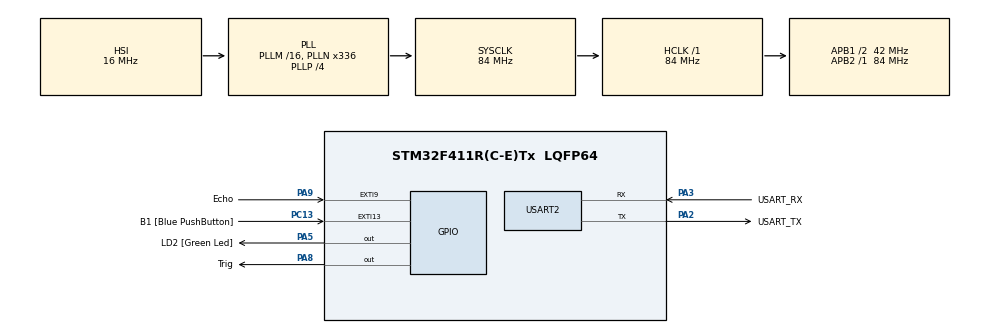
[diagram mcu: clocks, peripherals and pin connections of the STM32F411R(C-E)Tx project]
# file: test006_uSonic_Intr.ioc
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Mcu.Family=STM32F4
Mcu.Name=STM32F411R(C-E)Tx
Mcu.Package=LQFP64
NVIC.EXTI9_5_IRQn=true\:0\:0\:false\:false\:true\:true\:true\:true
NVIC.PriorityGroup=NVIC_PRIORITYGROUP_0
NVIC.TIM3_IRQn=true\:0\:0\:false\:false\:true\:true\:true\:true
PA13.GPIO_Label=TMS
PA13.Mode=Serial_Wire
PA13.Signal=SYS_JTMS-SWDIO
PA14.GPIO_Label=TCK
PA14.Mode=Serial_Wire
PA14.Signal=SYS_JTCK-SWCLK
PA2.GPIO_Label=USART_TX
PA2.Mode=Asynchronous
PA2.Signal=USART2_TX
PA3.GPIO_Label=USART_RX
PA3.Mode=Asynchronous
PA3.Signal=USART2_RX
PA5.GPIO_Label=LD2 [Green Led]
PA5.Signal=GPIO_Output
PA8.GPIO_Label=Trig
PA8.Signal=GPIO_Output
PA9.GPIO_Label=Echo
PA9.GPIO_ModeDefaultEXTI=GPIO_MODE_IT_RISING_FALLING
PA9.Signal=GPXTI9
PB3.GPIO_Label=SWO
PB3.Signal=SYS_JTDO-SWO
PC13-ANTI_TAMP.GPIO_Label=B1 [Blue PushButton]
PC13-ANTI_TAMP.GPIO_ModeDefaultEXTI=GPIO_MODE_IT_FALLING
PC13-ANTI_TAMP.Signal=GPXTI13
PC14-OSC32_IN.Mode=LSE-External-Oscillator
PC14-OSC32_IN.Signal=RCC_OSC32_IN
PC15-OSC32_OUT.Mode=LSE-External-Oscillator
PC15-OSC32_OUT.Signal=RCC_OSC32_OUT
PH0\ -\ OSC_IN.Mode=HSE-External-Clock-Source
PH0\ -\ OSC_IN.Signal=RCC_OSC_IN
PH1\ -\ OSC_OUT.Mode=HSE-External-Clock-Source
PH1\ -\ OSC_OUT.Signal=RCC_OSC_OUT
ProjectManager.HeapSize=0x200
ProjectManager.StackSize=0x400
ProjectManager.TargetToolchain=STM32CubeIDE
RCC.48MHZClocksFreq_Value=84000000
RCC.AHBFreq_Value=84000000
RCC.APB1CLKDivider=RCC_HCLK_DIV2
RCC.APB1Freq_Value=42000000
RCC.APB1TimFreq_Value=84000000
RCC.APB2Freq_Value=84000000
RCC.APB2TimFreq_Value=84000000
RCC.CortexFreq_Value=84000000
RCC.FLatency-AdvancedSettings=FLASH_LATENCY_2
RCC.HCLKFreq_Value=84000000
RCC.HSE_VALUE=8000000
RCC.HSI_VALUE=16000000
RCC.PLLN=336
RCC.PLLP=RCC_PLLP_DIV4
RCC.SYSCLKFreq_VALUE=84000000
RCC.SYSCLKSource=RCC_SYSCLKSOURCE_PLLCLK
RCC.VCOOutputFreq_Value=336000000
TIM2.Prescaler=84-1
TIM3.Period=500-1
TIM3.Prescaler=8400-1
TIM3.TIM_MasterOutputTrigger=TIM_TRGO_RESET
USART2.VirtualMode=VM_ASYNC
VP_TIM2_VS_ClockSourceINT.Mode=Internal
VP_TIM3_VS_ClockSourceINT.Mode=Internal
board=NUCLEO-F411RE

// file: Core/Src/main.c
/* USER CODE BEGIN Header */
/**
  ******************************************************************************
  * @file           : main.c
  * @brief          : Main program body
  ******************************************************************************
  * @attention
  *
  * Copyright (c) 2025 STMicroelectronics.
  * All rights reserved.
  *
  * This software is licensed under terms that can be found in the LICENSE file
  * in the root directory of this software component.
  * If no LICENSE file comes with this software, it is provided AS-IS.
  *
  ******************************************************************************
  */
/* USER CODE END Header */
#include "main.h"

/* USER CODE BEGIN Includes */
#include "uSonic.h"
/* USER CODE END Includes */

TIM_HandleTypeDef htim2;
TIM_HandleTypeDef htim3;

UART_HandleTypeDef huart2;

void SystemClock_Config(void);
static void MX_GPIO_Init(void);
static void MX_USART2_UART_Init(void);
static void MX_TIM2_Init(void);
static void MX_TIM3_Init(void);

/* USER CODE BEGIN 0 */

void HAL_TIM_PeriodElapsedCallback(TIM_HandleTypeDef *htim)
{
	Trigger();
}
double dist;
int t1 = 0, t2 = 0;
void HAL_GPIO_EXTI_Callback(uint16_t GPIO_PIN)
{
	if(GPIO_PIN == Echo_Pin)
	{
		if(HAL_GPIO_ReadPin(Echo_GPIO_Port, Echo_Pin) == 1)
		{
			htim2.Instance->CNT = 0;
			t1 = htim2.Instance->CNT;
		}
		else
		{
			t2 = htim2.Instance->CNT;
			dist = (t2) * 0.17;
		}
	}
}
/* USER CODE END 0 */

int main(void)
{

  /* MCU Configuration--------------------------------------------------------*/

  /* Reset of all peripherals, Initializes the Flash interface and the Systick. */
  HAL_Init();

  /* Configure the system clock */
  SystemClock_Config();

  /* Initialize all configured peripherals */
  MX_GPIO_Init();
  MX_USART2_UART_Init();
  MX_TIM2_Init();
  MX_TIM3_Init();
  /* USER CODE BEGIN 2 */
  ProgramStart("uSonic Interrupt Test");
  HAL_TIM_Base_Start(&htim2);
  HAL_TIM_Base_Start_IT(&htim3);
  /* USER CODE END 2 */

  /* Infinite loop */
  /* USER CODE BEGIN WHILE */
  while (1)
  {

	  printf("Distance : %.2f\r\n", dist);
	  HAL_Delay(500);
    /* USER CODE END WHILE */

  }
}

void SystemClock_Config(void)
{
  RCC_OscInitTypeDef RCC_OscInitStruct = {0};
  RCC_ClkInitTypeDef RCC_ClkInitStruct = {0};

  /** Configure the main internal regulator output voltage
  */
  __HAL_RCC_PWR_CLK_ENABLE();
  __HAL_PWR_VOLTAGESCALING_CONFIG(PWR_REGULATOR_VOLTAGE_SCALE1);

  /** Initializes the RCC Oscillators according to the specified parameters
  * in the RCC_OscInitTypeDef structure.
  */
  RCC_OscInitStruct.OscillatorType = RCC_OSCILLATORTYPE_HSI;
  RCC_OscInitStruct.HSIState = RCC_HSI_ON;
  RCC_OscInitStruct.HSICalibrationValue = RCC_HSICALIBRATION_DEFAULT;
  RCC_OscInitStruct.PLL.PLLState = RCC_PLL_ON;
  RCC_OscInitStruct.PLL.PLLSource = RCC_PLLSOURCE_HSI;
  RCC_OscInitStruct.PLL.PLLM = 16;
  RCC_OscInitStruct.PLL.PLLN = 336;
  RCC_OscInitStruct.PLL.PLLP = RCC_PLLP_DIV4;
  RCC_OscInitStruct.PLL.PLLQ = 4;
  if (HAL_RCC_OscConfig(&RCC_OscInitStruct) != HAL_OK)
  {
    Error_Handler();
  }

  /** Initializes the CPU, AHB and APB buses clocks
  */
  RCC_ClkInitStruct.ClockType = RCC_CLOCKTYPE_HCLK|RCC_CLOCKTYPE_SYSCLK
                              |RCC_CLOCKTYPE_PCLK1|RCC_CLOCKTYPE_PCLK2;
  RCC_ClkInitStruct.SYSCLKSource = RCC_SYSCLKSOURCE_PLLCLK;
  RCC_ClkInitStruct.AHBCLKDivider = RCC_SYSCLK_DIV1;
  RCC_ClkInitStruct.APB1CLKDivider = RCC_HCLK_DIV2;
  RCC_ClkInitStruct.APB2CLKDivider = RCC_HCLK_DIV1;

  if (HAL_RCC_ClockConfig(&RCC_ClkInitStruct, FLASH_LATENCY_2) != HAL_OK)
  {
    Error_Handler();
  }
}

static void MX_TIM2_Init(void)
{

  TIM_ClockConfigTypeDef sClockSourceConfig = {0};
  TIM_MasterConfigTypeDef sMasterConfig = {0};

  htim2.Instance = TIM2;
  htim2.Init.Prescaler = 84-1;
  htim2.Init.CounterMode = TIM_COUNTERMODE_UP;
  htim2.Init.Period = 4294967295;
  htim2.Init.ClockDivision = TIM_CLOCKDIVISION_DIV1;
  htim2.Init.AutoReloadPreload = TIM_AUTORELOAD_PRELOAD_DISABLE;
  if (HAL_TIM_Base_Init(&htim2) != HAL_OK)
  {
    Error_Handler();
  }
  sClockSourceConfig.ClockSource = TIM_CLOCKSOURCE_INTERNAL;
  if (HAL_TIM_ConfigClockSource(&htim2, &sClockSourceConfig) != HAL_OK)
  {
    Error_Handler();
  }
  sMasterConfig.MasterOutputTrigger = TIM_TRGO_RESET;
  sMasterConfig.MasterSlaveMode = TIM_MASTERSLAVEMODE_DISABLE;
  if (HAL_TIMEx_MasterConfigSynchronization(&htim2, &sMasterConfig) != HAL_OK)
  {
    Error_Handler();
  }

}

static void MX_TIM3_Init(void)
{

  TIM_ClockConfigTypeDef sClockSourceConfig = {0};
  TIM_MasterConfigTypeDef sMasterConfig = {0};

  htim3.Instance = TIM3;
  htim3.Init.Prescaler = 8400-1;
  htim3.Init.CounterMode = TIM_COUNTERMODE_UP;
  htim3.Init.Period = 500-1;
  htim3.Init.ClockDivision = TIM_CLOCKDIVISION_DIV1;
  htim3.Init.AutoReloadPreload = TIM_AUTORELOAD_PRELOAD_DISABLE;
  if (HAL_TIM_Base_Init(&htim3) != HAL_OK)
  {
    Error_Handler();
  }
  sClockSourceConfig.ClockSource = TIM_CLOCKSOURCE_INTERNAL;
  if (HAL_TIM_ConfigClockSource(&htim3, &sClockSourceConfig) != HAL_OK)
  {
    Error_Handler();
  }
  sMasterConfig.MasterOutputTrigger = TIM_TRGO_RESET;
  sMasterConfig.MasterSlaveMode = TIM_MASTERSLAVEMODE_DISABLE;
  if (HAL_TIMEx_MasterConfigSynchronization(&htim3, &sMasterConfig) != HAL_OK)
  {
    Error_Handler();
  }

}

static void MX_USART2_UART_Init(void)
{

  huart2.Instance = USART2;
  huart2.Init.BaudRate = 115200;
  huart2.Init.WordLength = UART_WORDLENGTH_8B;
  huart2.Init.StopBits = UART_STOPBITS_1;
  huart2.Init.Parity = UART_PARITY_NONE;
  huart2.Init.Mode = UART_MODE_TX_RX;
  huart2.Init.HwFlowCtl = UART_HWCONTROL_NONE;
  huart2.Init.OverSampling = UART_OVERSAMPLING_16;
  if (HAL_UART_Init(&huart2) != HAL_OK)
  {
    Error_Handler();
  }

}

static void MX_GPIO_Init(void)
{
  GPIO_InitTypeDef GPIO_InitStruct = {0};

  /* GPIO Ports Clock Enable */
  __HAL_RCC_GPIOC_CLK_ENABLE();
  __HAL_RCC_GPIOH_CLK_ENABLE();
  __HAL_RCC_GPIOA_CLK_ENABLE();
  __HAL_RCC_GPIOB_CLK_ENABLE();

  /*Configure GPIO pin Output Level */
  HAL_GPIO_WritePin(GPIOA, LD2_Pin|Trig_Pin, GPIO_PIN_RESET);

  /*Configure GPIO pin : B1_Pin */
  GPIO_InitStruct.Pin = B1_Pin;
  GPIO_InitStruct.Mode = GPIO_MODE_IT_FALLING;
  GPIO_InitStruct.Pull = GPIO_NOPULL;
  HAL_GPIO_Init(B1_GPIO_Port, &GPIO_InitStruct);

  /*Configure GPIO pins : LD2_Pin Trig_Pin */
  GPIO_InitStruct.Pin = LD2_Pin|Trig_Pin;
  GPIO_InitStruct.Mode = GPIO_MODE_OUTPUT_PP;
  GPIO_InitStruct.Pull = GPIO_NOPULL;
  GPIO_InitStruct.Speed = GPIO_SPEED_FREQ_LOW;
  HAL_GPIO_Init(GPIOA, &GPIO_InitStruct);

  /*Configure GPIO pin : Echo_Pin */
  GPIO_InitStruct.Pin = Echo_Pin;
  GPIO_InitStruct.Mode = GPIO_MODE_IT_RISING_FALLING;
  GPIO_InitStruct.Pull = GPIO_NOPULL;
  HAL_GPIO_Init(Echo_GPIO_Port, &GPIO_InitStruct);

  /* EXTI interrupt init*/
  HAL_NVIC_SetPriority(EXTI9_5_IRQn, 0, 0);
  HAL_NVIC_EnableIRQ(EXTI9_5_IRQn);

}

void Error_Handler(void)
{
  __disable_irq();
  while (1)
  {
  }
}
